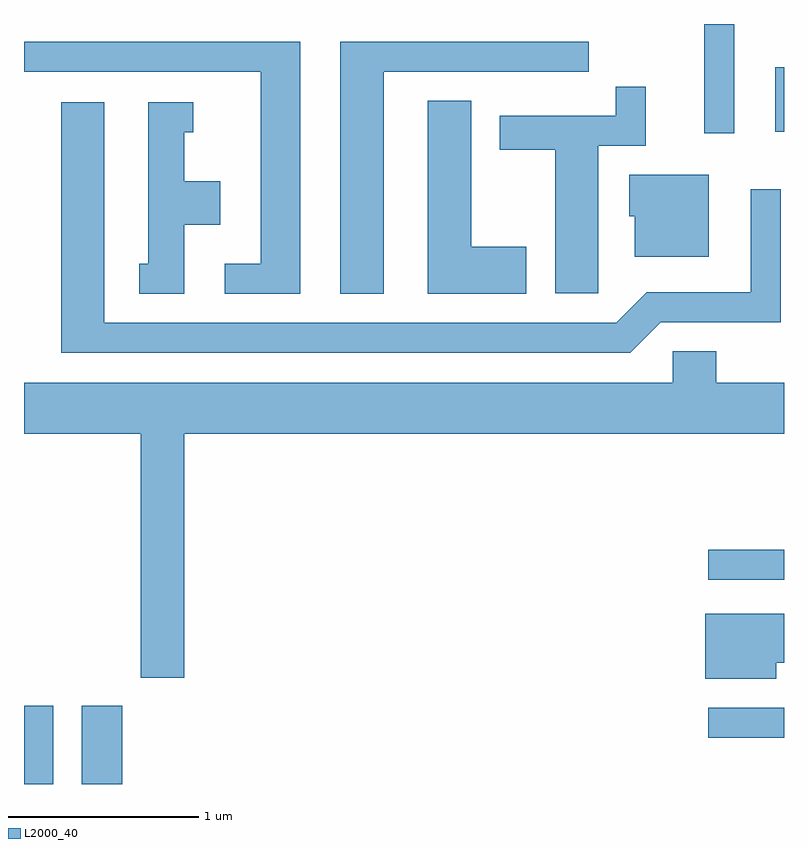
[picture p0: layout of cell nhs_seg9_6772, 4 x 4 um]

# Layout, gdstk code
import gdstk
lib = gdstk.Library(unit=1e-6, precision=1e-09)
def R(c, l, rs):  # rectangles x0, y0, x1, y1
    for r in rs: c.add(gdstk.rectangle(r[:2], r[2:], *l))
def P(c, l, *ps):  # polygons
    for p in ps: c.add(gdstk.Polygon(p, *l))
L2000_40 = (2000, 40)

nhs_seg9_6772 = lib.new_cell('nhs_seg9_6772')
R(nhs_seg9_6772, L2000_40, [(385.611,1974.432,385.764,1974.844), (385.916,1974.432,386.129,1974.844), (389.213,1974.676,389.611,1974.834), (389.213,1975.506,389.611,1975.664), (389.191,1977.858,389.349,1978.432), (389.566,1977.866,389.611,1978.204)])
P(nhs_seg9_6772, L2000_40, [(387.504,1978.181),(388.583,1978.181),(388.583,1978.339),(387.276,1978.339),(387.276,1977.011),(387.504,1977.011)],
  [(387.064,1978.339),(385.611,1978.339),(385.611,1978.181),(386.856,1978.181),(386.856,1977.169),(386.668,1977.169),(386.668,1977.011),(387.064,1977.011)],
  [(388.634,1977.791),(388.884,1977.791),(388.884,1978.103),(388.726,1978.103),(388.726,1977.949),(388.116,1977.949),(388.116,1977.771),(388.406,1977.771),(388.406,1977.016),(388.634,1977.016)],
  [(388.254,1977.259),(387.964,1977.259),(387.964,1978.029),(387.736,1978.029),(387.736,1977.011),(388.254,1977.011)],
  [(388.962,1976.861),(389.594,1976.861),(389.594,1977.563),(389.436,1977.563),(389.436,1977.019),(388.889,1977.019),(388.729,1976.859),(386.034,1976.859),(386.034,1978.019),(385.806,1978.019),(385.806,1976.701),(388.802,1976.701)],
  [(386.454,1977.376),(386.644,1977.376),(386.644,1977.604),(386.454,1977.604),(386.454,1977.861),(386.503,1977.861),(386.503,1978.019),(386.266,1978.019),(386.266,1977.169),(386.218,1977.169),(386.218,1977.011),(386.454,1977.011)],
  [(389.214,1977.639),(388.796,1977.639),(388.796,1977.421),(388.826,1977.421),(388.826,1977.206),(389.214,1977.206)],
  [(386.454,1976.276),(389.611,1976.276),(389.611,1976.544),(389.254,1976.544),(389.254,1976.709),(389.026,1976.709),(389.026,1976.544),(385.611,1976.544),(385.611,1976.276),(386.226,1976.276),(386.226,1974.991),(386.454,1974.991)],
  [(389.569,1975.071),(389.611,1975.071),(389.611,1975.329),(389.196,1975.329),(389.196,1974.986),(389.569,1974.986)])

lib.write_gds('nhs_seg9_6772.gds')
